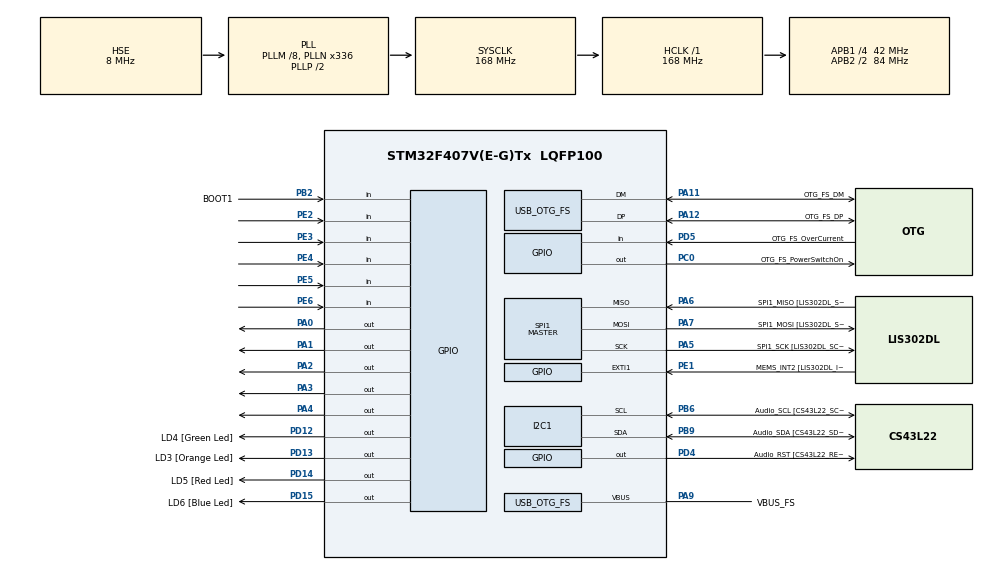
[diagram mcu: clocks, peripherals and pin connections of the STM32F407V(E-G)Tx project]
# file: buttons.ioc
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Mcu.Family=STM32F4
Mcu.Name=STM32F407V(E-G)Tx
Mcu.Package=LQFP100
NVIC.OTG_FS_IRQn=true\:0\:0\:false\:false\:true\:true\:true\:true
NVIC.PriorityGroup=NVIC_PRIORITYGROUP_0
PA0-WKUP.GPIO_PuPd=GPIO_NOPULL
PA0-WKUP.Signal=GPIO_Output
PA1.GPIO_PuPd=GPIO_NOPULL
PA1.Signal=GPIO_Output
PA10.GPIO_Label=OTG_FS_ID
PA10.GPIO_Mode=GPIO_MODE_AF_PP
PA10.GPIO_PuPd=GPIO_NOPULL
PA10.GPIO_Speed=GPIO_SPEED_FREQ_LOW
PA10.Signal=USB_OTG_FS_ID
PA11.GPIO_Label=OTG_FS_DM
PA11.GPIO_Mode=GPIO_MODE_AF_PP
PA11.GPIO_PuPd=GPIO_NOPULL
PA11.GPIO_Speed=GPIO_SPEED_FREQ_LOW
PA11.Mode=Device_Only
PA11.Signal=USB_OTG_FS_DM
PA12.GPIO_Label=OTG_FS_DP
PA12.GPIO_Mode=GPIO_MODE_AF_PP
PA12.GPIO_PuPd=GPIO_NOPULL
PA12.GPIO_Speed=GPIO_SPEED_FREQ_LOW
PA12.Mode=Device_Only
PA12.Signal=USB_OTG_FS_DP
PA13.GPIO_Label=SWDIO
PA13.Mode=Serial_Wire
PA13.Signal=SYS_JTMS-SWDIO
PA14.GPIO_Label=SWCLK
PA14.Mode=Serial_Wire
PA14.Signal=SYS_JTCK-SWCLK
PA2.GPIO_PuPd=GPIO_NOPULL
PA2.Signal=GPIO_Output
PA3.GPIO_PuPd=GPIO_NOPULL
PA3.Signal=GPIO_Output
PA4.GPIO_PuPd=GPIO_NOPULL
PA4.Signal=GPIO_Output
PA5.GPIO_Label=SPI1_SCK [LIS302DL_SCL/SPC]
PA5.GPIO_Mode=GPIO_MODE_AF_PP
PA5.GPIO_PuPd=GPIO_NOPULL
PA5.GPIO_Speed=GPIO_SPEED_FREQ_LOW
PA5.Mode=Full_Duplex_Master
PA5.Signal=SPI1_SCK
PA6.GPIO_Label=SPI1_MISO [LIS302DL_SDO]
PA6.GPIO_Mode=GPIO_MODE_AF_PP
PA6.GPIO_PuPd=GPIO_NOPULL
PA6.GPIO_Speed=GPIO_SPEED_FREQ_LOW
PA6.Mode=Full_Duplex_Master
PA6.Signal=SPI1_MISO
PA7.GPIO_Label=SPI1_MOSI [LIS302DL_SDA/SDI/SDO]
PA7.GPIO_Mode=GPIO_MODE_AF_PP
PA7.GPIO_PuPd=GPIO_NOPULL
PA7.GPIO_Speed=GPIO_SPEED_FREQ_LOW
PA7.Mode=Full_Duplex_Master
PA7.Signal=SPI1_MOSI
PA9.GPIO_Label=VBUS_FS
PA9.GPIO_Mode=GPIO_MODE_INPUT
PA9.GPIO_PuPd=GPIO_NOPULL
PA9.Mode=Activate_VBUS
PA9.Signal=USB_OTG_FS_VBUS
PB10.GPIO_Label=CLK_IN [MP45DT02_CLK]
PB10.GPIO_Mode=GPIO_MODE_AF_PP
PB10.GPIO_PuPd=GPIO_NOPULL
PB10.GPIO_Speed=GPIO_SPEED_FREQ_LOW
PB10.Signal=I2S2_CK
PB2.GPIO_Label=BOOT1
PB2.GPIO_Mode=GPIO_MODE_INPUT
PB2.GPIO_PuPd=GPIO_NOPULL
PB2.Signal=GPIO_Input
PB3.GPIO_Label=SWO
PB3.Signal=SYS_JTDO-SWO
PB6.GPIO_Label=Audio_SCL [CS43L22_SCL]
PB6.GPIO_Mode=GPIO_MODE_AF_OD
PB6.GPIO_Pu=GPIO_PULLUP
PB6.GPIO_PuPd=GPIO_NOPULL
PB6.GPIO_Speed=GPIO_SPEED_FREQ_LOW
PB6.Mode=I2C
PB6.Signal=I2C1_SCL
PB9.GPIO_Label=Audio_SDA [CS43L22_SDA]
PB9.GPIO_Mode=GPIO_MODE_AF_OD
PB9.GPIO_Pu=GPIO_PULLUP
PB9.GPIO_PuPd=GPIO_NOPULL
PB9.GPIO_Speed=GPIO_SPEED_FREQ_LOW
PB9.Mode=I2C
PB9.Signal=I2C1_SDA
PC0.GPIO_Label=OTG_FS_PowerSwitchOn
PC0.GPIO_PuPd=GPIO_NOPULL
PC0.GPIO_Speed=GPIO_SPEED_FREQ_LOW
PC0.PinState=GPIO_PIN_SET
PC0.Signal=GPIO_Output
PC10.GPIO_Label=I2S3_SCK [CS43L22_SCLK]
PC10.GPIO_Mode=GPIO_MODE_AF_PP
PC10.GPIO_PuPd=GPIO_NOPULL
PC10.GPIO_Speed=GPIO_SPEED_FREQ_LOW
PC10.Signal=I2S3_CK
PC12.GPIO_Label=I2S3_SD [CS43L22_SDIN]
PC12.GPIO_Mode=GPIO_MODE_AF_PP
PC12.GPIO_PuPd=GPIO_NOPULL
PC12.GPIO_Speed=GPIO_SPEED_FREQ_LOW
PC12.Signal=I2S3_SD
PC14-OSC32_IN.GPIO_Label=PC14-OSC32_IN
PC14-OSC32_IN.Mode=LSE-External-Oscillator
PC14-OSC32_IN.Signal=RCC_OSC32_IN
PC15-OSC32_OUT.GPIO_Label=PC15-OSC32_OUT
PC15-OSC32_OUT.Mode=LSE-External-Oscillator
PC15-OSC32_OUT.Signal=RCC_OSC32_OUT
PC3.GPIO_Label=PDM_OUT [MP45DT02_DOUT]
PC3.GPIO_Mode=GPIO_MODE_AF_PP
PC3.GPIO_PuPd=GPIO_NOPULL
PC3.GPIO_Speed=GPIO_SPEED_FREQ_LOW
PC3.Signal=I2S2_SD
PC7.GPIO_Label=I2S3_MCK [CS43L22_MCLK]
PC7.GPIO_Mode=GPIO_MODE_AF_PP
PC7.GPIO_PuPd=GPIO_NOPULL
PC7.GPIO_Speed=GPIO_SPEED_FREQ_LOW
PC7.Signal=I2S3_MCK
PD12.GPIO_Label=LD4 [Green Led]
PD12.GPIO_PuPd=GPIO_NOPULL
PD12.GPIO_Speed=GPIO_SPEED_FREQ_LOW
PD12.Signal=GPIO_Output
PD13.GPIO_Label=LD3 [Orange Led]
PD13.GPIO_PuPd=GPIO_NOPULL
PD13.GPIO_Speed=GPIO_SPEED_FREQ_LOW
PD13.Signal=GPIO_Output
PD14.GPIO_Label=LD5 [Red Led]
PD14.GPIO_PuPd=GPIO_NOPULL
PD14.GPIO_Speed=GPIO_SPEED_FREQ_LOW
PD14.Signal=GPIO_Output
PD15.GPIO_Label=LD6 [Blue Led]
PD15.GPIO_PuPd=GPIO_NOPULL
PD15.GPIO_Speed=GPIO_SPEED_FREQ_LOW
PD15.Signal=GPIO_Output
PD4.GPIO_Label=Audio_RST [CS43L22_RESET]
PD4.GPIO_PuPd=GPIO_NOPULL
PD4.GPIO_Speed=GPIO_SPEED_FREQ_LOW
PD4.Signal=GPIO_Output
PD5.GPIO_Label=OTG_FS_OverCurrent
PD5.GPIO_Mode=GPIO_MODE_INPUT
PD5.GPIO_PuPd=GPIO_NOPULL
PD5.Signal=GPIO_Input
PE1.GPIO_Label=MEMS_INT2 [LIS302DL_INT2]
PE1.GPIO_ModeDefaultEXTI=GPIO_MODE_EVT_RISING
PE1.GPIO_PuPd=GPIO_NOPULL
PE1.Signal=GPXTI1
PE2.GPIO_Mode=GPIO_MODE_INPUT
PE2.GPIO_PuPd=GPIO_PULLUP
PE2.Signal=GPIO_Input
PE3.GPIO_Mode=GPIO_MODE_INPUT
PE3.GPIO_PuPd=GPIO_PULLUP
PE3.Signal=GPIO_Input
PE4.GPIO_Mode=GPIO_MODE_INPUT
PE4.GPIO_PuPd=GPIO_PULLUP
PE4.Signal=GPIO_Input
PE5.GPIO_Mode=GPIO_MODE_INPUT
PE5.GPIO_PuPd=GPIO_PULLUP
PE5.Signal=GPIO_Input
PE6.GPIO_Mode=GPIO_MODE_INPUT
PE6.GPIO_PuPd=GPIO_PULLUP
PE6.Signal=GPIO_Input
PH0-OSC_IN.GPIO_Label=PH0-OSC_IN
PH0-OSC_IN.Mode=HSE-External-Oscillator
PH0-OSC_IN.Signal=RCC_OSC_IN
PH1-OSC_OUT.GPIO_Label=PH1-OSC_OUT
PH1-OSC_OUT.Mode=HSE-External-Oscillator
PH1-OSC_OUT.Signal=RCC_OSC_OUT
ProjectManager.HeapSize=0x200
ProjectManager.StackSize=0x400
ProjectManager.TargetToolchain=STM32CubeIDE
RCC.48MHZClocksFreq_Value=48000000
RCC.AHBFreq_Value=168000000
RCC.APB1CLKDivider=RCC_HCLK_DIV4
RCC.APB1Freq_Value=42000000
RCC.APB1TimFreq_Value=84000000
RCC.APB2CLKDivider=RCC_HCLK_DIV2
RCC.APB2Freq_Value=84000000
RCC.APB2TimFreq_Value=168000000
RCC.CortexFreq_Value=168000000
RCC.HCLKFreq_Value=168000000
RCC.HSE_VALUE=8000000
RCC.HSI_VALUE=16000000
RCC.PLLM=8
RCC.PLLN=336
RCC.PLLQ=7
RCC.SYSCLKFreq_VALUE=168000000
RCC.SYSCLKSource=RCC_SYSCLKSOURCE_PLLCLK
RCC.VCOOutputFreq_Value=336000000
SPI1.BaudRatePrescaler-Full_Duplex_Master=SPI_BAUDRATEPRESCALER_2
SPI1.CalculateBaudRate-Full_Duplex_Master=42.0 MBits/s
SPI1.Direction=SPI_DIRECTION_2LINES
SPI1.Mode=SPI_MODE_MASTER
SPI1.Mode-Full_Duplex_Master=SPI_MODE_MASTER
SPI1.VirtualType=VM_MASTER
USB_DEVICE.CLASS_NAME_FS=HID
USB_DEVICE.VirtualMode-HID_FS=Hid
USB_DEVICE.VirtualModeFS=Hid_FS
USB_OTG_FS.VirtualMode=Device_Only
VP_USB_DEVICE_VS_USB_DEVICE_HID_FS.Mode=HID_FS
board=STM32F407G-DISC1

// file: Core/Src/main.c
/* USER CODE BEGIN Header */
/**
  ******************************************************************************
  * @file           : main.c
  * @brief          : Main program body
  ******************************************************************************
  * @attention
  *
  * Copyright (c) 2025 STMicroelectronics.
  * All rights reserved.
  *
  * This software is licensed under terms that can be found in the LICENSE file
  * in the root directory of this software component.
  * If no LICENSE file comes with this software, it is provided AS-IS.
  *
  ******************************************************************************
  */
/* USER CODE END Header */
#include "main.h"
#include "i2c.h"
#include "spi.h"
#include "usb_device.h"
#include "gpio.h"

/* USER CODE BEGIN PV */

volatile uint8_t btnPressed = 255;   // 0–4 = button index, 255 = none
volatile uint32_t lastInterruptTime = 0;

// We use volatile here because variable can be modified by external hardware or interrupts, and you don’t want the compiler to optimize out the read or write
// variable is accessed both in the main code and in an interrupt handler (ISR) -- interrupt handler modifies the value, and the main loop needs to react to those changes
// “Hey, this variable can change unexpectedly — it can change in an interrupt! Don’t optimize it away or assume it’s always the same!”

/* USER CODE END PV */

void SystemClock_Config(void);

int main(void)
{

  /* MCU Configuration--------------------------------------------------------*/

  /* Reset of all peripherals, Initializes the Flash interface and the Systick. */
  HAL_Init();

  /* Configure the system clock */
  SystemClock_Config();

  /* Initialize all configured peripherals */
  MX_GPIO_Init();
  MX_I2C1_Init();
  MX_SPI1_Init();
  MX_USB_DEVICE_Init();
  /* USER CODE BEGIN 2 */

  // --- Enable EXTI interrupts for PE2..PE6 manually ---
  // Important: assumes each button pin is EXTI-capable.

  // PE2
  HAL_NVIC_SetPriority(EXTI2_IRQn, 0, 0);	// HAL_NVIC_SetPriority(IRQn, preemption, subpriority) --> higher # = lower priority -- 0 = highest priority... idk preemption
  // ^^^ This determines which interrupt can interrupt another one.
  HAL_NVIC_EnableIRQ(EXTI2_IRQn);	// This unmasks the interrupt in the NVIC so the CPU can receive it -- If you do not call this, EXTI interrupts will NEVER run, even if the pin is configured correctly

  // PE3
  HAL_NVIC_SetPriority(EXTI3_IRQn, 0, 0);
  HAL_NVIC_EnableIRQ(EXTI3_IRQn);

  // PE4
  HAL_NVIC_SetPriority(EXTI4_IRQn, 0, 0);
  HAL_NVIC_EnableIRQ(EXTI4_IRQn);

  // EXTI9_5 handles pins 5 and 6
  // pins PE5 and PE6 cannot have separate IRQ handlers.
  HAL_NVIC_SetPriority(EXTI9_5_IRQn, 0, 0);
  HAL_NVIC_EnableIRQ(EXTI9_5_IRQn);

  extern USBD_HandleTypeDef hUsbDeviceFS;
  typedef struct
  {
  	uint8_t MODIFIER;
  	uint8_t RESERVED;
  	uint8_t KEYCODE1;
  	uint8_t KEYCODE2;
  	uint8_t KEYCODE3;
  	uint8_t KEYCODE4;
  	uint8_t KEYCODE5;
  	uint8_t KEYCODE6;
  } keyboardHID;

  keyboardHID release = {0};

  const uint16_t leds[] = {
  	      GPIO_PIN_1,   // white
  	      GPIO_PIN_0,   // green
  	      GPIO_PIN_2,   // yellow
  	      GPIO_PIN_3,   // red
		  GPIO_PIN_4	// blue
  	  };

  int index = 0;
  int direction = 1;  // 1 = forward, -1 = backward
  uint32_t lastActivityTime  = 0;   // stores time of last button press

// DON'T NEED THIS SHII IN INTERRUPT CODE ANYMORE HAHAHAHHAHAHA-->

//  const uint16_t btns[] = {
//		  GPIO_PIN_2,   // white = copy = ctrl + C
//		  GPIO_PIN_3,   // green = paste = ctrl + V
//		  GPIO_PIN_4,	// yellow = "ur gay"
//		  GPIO_PIN_5,	// red = change tab = ALT + TAB
//		  GPIO_PIN_6	// blue = print screen
//  };

  keyboardHID shortcuts[5] = {
		  {0x01,0,0x06,0,0,0,0,0},		// white
		  {0x01,0,0x19,0,0,0,0,0},		// green
		  {0,0,0x18,0x15,0x0A,0x04,0x1C, 0x2C},		// yellow
		  {0x04,0,0x2B,0,0,0,0,0},		// red
		  {0,0,0x46,0,0,0,0,0}		// blue
  };     // HID keyboard report: [mods, reserved, key1..key6]

  /* USER CODE END 2 */

  /* Infinite loop */
  /* USER CODE BEGIN WHILE */
  while (1)
  {
      uint32_t now = HAL_GetTick();

      // ===================== PROCESS BUTTON PRESS ===================== //
      if (btnPressed != 255)
      {
          uint8_t id = btnPressed;      // copy
          btnPressed = 255;             // clear immediately
          lastActivityTime = now;       // reset loading animation timer

          // Turn LED on
          HAL_GPIO_WritePin(GPIOA, leds[id], GPIO_PIN_SET);

          // Send HID keypress
          USBD_HID_SendReport(&hUsbDeviceFS, (uint8_t*)&shortcuts[id], sizeof(shortcuts[id]));

          HAL_Delay(40);  // Key must stay pressed for at least one USB frame

          // Send HID release
          USBD_HID_SendReport(&hUsbDeviceFS, (uint8_t*)&release, sizeof(release));

          // Turn LED off
          HAL_GPIO_WritePin(GPIOA, leds[id], GPIO_PIN_RESET);
      }

      // ===================== LOADING ANIMATION ===================== //
      if (now - lastActivityTime > 2000)
      {
          HAL_GPIO_WritePin(GPIOA, leds[index], GPIO_PIN_SET);
          HAL_Delay(120);
          HAL_GPIO_WritePin(GPIOA, leds[index], GPIO_PIN_RESET);

          index += direction;

          if (index == 4) direction = -1;
          if (index == 0) direction = 1;
      }

     /* USER CODE END WHILE */
  } /* USER CODE BEGIN 3 */
  /* USER CODE END 3 */
}

void SystemClock_Config(void)
{
  RCC_OscInitTypeDef RCC_OscInitStruct = {0};
  RCC_ClkInitTypeDef RCC_ClkInitStruct = {0};

  /** Configure the main internal regulator output voltage
  */
  __HAL_RCC_PWR_CLK_ENABLE();
  __HAL_PWR_VOLTAGESCALING_CONFIG(PWR_REGULATOR_VOLTAGE_SCALE1);

  /** Initializes the RCC Oscillators according to the specified parameters
  * in the RCC_OscInitTypeDef structure.
  */
  RCC_OscInitStruct.OscillatorType = RCC_OSCILLATORTYPE_HSE;
  RCC_OscInitStruct.HSEState = RCC_HSE_ON;
  RCC_OscInitStruct.PLL.PLLState = RCC_PLL_ON;
  RCC_OscInitStruct.PLL.PLLSource = RCC_PLLSOURCE_HSE;
  RCC_OscInitStruct.PLL.PLLM = 8;
  RCC_OscInitStruct.PLL.PLLN = 336;
  RCC_OscInitStruct.PLL.PLLP = RCC_PLLP_DIV2;
  RCC_OscInitStruct.PLL.PLLQ = 7;
  if (HAL_RCC_OscConfig(&RCC_OscInitStruct) != HAL_OK)
  {
    Error_Handler();
  }

  /** Initializes the CPU, AHB and APB buses clocks
  */
  RCC_ClkInitStruct.ClockType = RCC_CLOCKTYPE_HCLK|RCC_CLOCKTYPE_SYSCLK
                              |RCC_CLOCKTYPE_PCLK1|RCC_CLOCKTYPE_PCLK2;
  RCC_ClkInitStruct.SYSCLKSource = RCC_SYSCLKSOURCE_PLLCLK;
  RCC_ClkInitStruct.AHBCLKDivider = RCC_SYSCLK_DIV1;
  RCC_ClkInitStruct.APB1CLKDivider = RCC_HCLK_DIV4;
  RCC_ClkInitStruct.APB2CLKDivider = RCC_HCLK_DIV2;

  if (HAL_RCC_ClockConfig(&RCC_ClkInitStruct, FLASH_LATENCY_5) != HAL_OK)
  {
    Error_Handler();
  }
}

/* USER CODE BEGIN 4 */
void HAL_GPIO_EXTI_Callback(uint16_t GPIO_Pin)
{
    uint32_t now = HAL_GetTick();

    // Debounce — ignore presses under 120 ms apart
    if (now - lastInterruptTime < 120)
        return;

    if (GPIO_Pin == GPIO_PIN_2)      btnPressed = 0;
    else if (GPIO_Pin == GPIO_PIN_3) btnPressed = 1;
    else if (GPIO_Pin == GPIO_PIN_4) btnPressed = 2;
    else if (GPIO_Pin == GPIO_PIN_5) btnPressed = 3;
    else if (GPIO_Pin == GPIO_PIN_6) btnPressed = 4;

    lastInterruptTime = now;
}

/* USER CODE END 4 */

void Error_Handler(void)
{
  __disable_irq();
  while (1)
  {
  }
}
